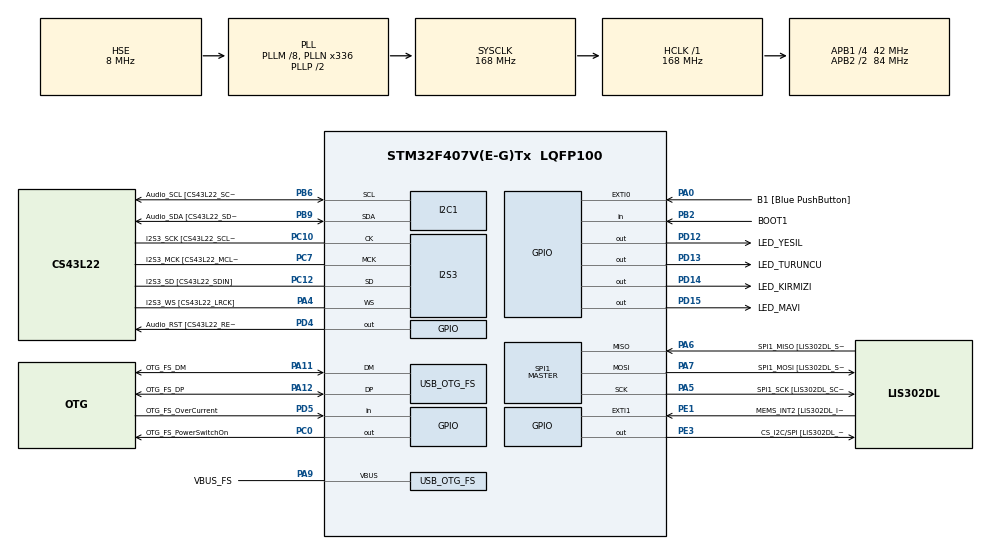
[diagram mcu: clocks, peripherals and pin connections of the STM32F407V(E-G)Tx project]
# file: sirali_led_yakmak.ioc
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I2S3.AudioFreq-Half_Duplex_Master=I2S_AUDIOFREQ_96K
I2S3.ErrorAudioFreq=-2.34 %
I2S3.ErrorAudioFreq-Half_Duplex_Master=0.8 %
I2S3.FullDuplexMode=I2S_FULLDUPLEXMODE_DISABLE
I2S3.Instance=SPI$Index
I2S3.RealAudioFreq=93.75 KHz
I2S3.RealAudioFreq-Half_Duplex_Master=96.774 KHz
I2S3.VirtualMode=I2S_MODE_MASTER
Mcu.Family=STM32F4
Mcu.Name=STM32F407V(E-G)Tx
Mcu.Package=LQFP100
NVIC.OTG_FS_IRQn=true\:0\:0\:false\:false\:true\:true\:true\:true
NVIC.PriorityGroup=NVIC_PRIORITYGROUP_0
PA0-WKUP.GPIO_Label=B1 [Blue PushButton]
PA0-WKUP.GPIO_ModeDefaultEXTI=GPIO_MODE_EVT_RISING
PA0-WKUP.GPIO_PuPd=GPIO_NOPULL
PA0-WKUP.Signal=GPXTI0
PA10.GPIO_Label=OTG_FS_ID
PA10.GPIO_Mode=GPIO_MODE_AF_PP
PA10.GPIO_PuPd=GPIO_NOPULL
PA10.GPIO_Speed=GPIO_SPEED_FREQ_LOW
PA10.Signal=USB_OTG_FS_ID
PA11.GPIO_Label=OTG_FS_DM
PA11.GPIO_Mode=GPIO_MODE_AF_PP
PA11.GPIO_PuPd=GPIO_NOPULL
PA11.GPIO_Speed=GPIO_SPEED_FREQ_LOW
PA11.Mode=Host_Only
PA11.Signal=USB_OTG_FS_DM
PA12.GPIO_Label=OTG_FS_DP
PA12.GPIO_Mode=GPIO_MODE_AF_PP
PA12.GPIO_PuPd=GPIO_NOPULL
PA12.GPIO_Speed=GPIO_SPEED_FREQ_LOW
PA12.Mode=Host_Only
PA12.Signal=USB_OTG_FS_DP
PA13.GPIO_Label=SWDIO
PA13.Mode=Serial_Wire
PA13.Signal=SYS_JTMS-SWDIO
PA14.GPIO_Label=SWCLK
PA14.Mode=Serial_Wire
PA14.Signal=SYS_JTCK-SWCLK
PA4.GPIO_Label=I2S3_WS [CS43L22_LRCK]
PA4.GPIO_Mode=GPIO_MODE_AF_PP
PA4.GPIO_PuPd=GPIO_NOPULL
PA4.GPIO_Speed=GPIO_SPEED_FREQ_LOW
PA4.Mode=Half_Duplex_Master
PA4.Signal=I2S3_WS
PA5.GPIO_Label=SPI1_SCK [LIS302DL_SCL/SPC]
PA5.GPIO_Mode=GPIO_MODE_AF_PP
PA5.GPIO_PuPd=GPIO_NOPULL
PA5.GPIO_Speed=GPIO_SPEED_FREQ_LOW
PA5.Mode=Full_Duplex_Master
PA5.Signal=SPI1_SCK
PA6.GPIO_Label=SPI1_MISO [LIS302DL_SDO]
PA6.GPIO_Mode=GPIO_MODE_AF_PP
PA6.GPIO_PuPd=GPIO_NOPULL
PA6.GPIO_Speed=GPIO_SPEED_FREQ_LOW
PA6.Mode=Full_Duplex_Master
PA6.Signal=SPI1_MISO
PA7.GPIO_Label=SPI1_MOSI [LIS302DL_SDA/SDI/SDO]
PA7.GPIO_Mode=GPIO_MODE_AF_PP
PA7.GPIO_PuPd=GPIO_NOPULL
PA7.GPIO_Speed=GPIO_SPEED_FREQ_LOW
PA7.Mode=Full_Duplex_Master
PA7.Signal=SPI1_MOSI
PA9.GPIO_Label=VBUS_FS
PA9.GPIO_Mode=GPIO_MODE_INPUT
PA9.GPIO_PuPd=GPIO_NOPULL
PA9.Mode=Activate_VBUS
PA9.Signal=USB_OTG_FS_VBUS
PB10.GPIO_Label=CLK_IN [MP45DT02_CLK]
PB10.GPIO_Mode=GPIO_MODE_AF_PP
PB10.GPIO_PuPd=GPIO_NOPULL
PB10.GPIO_Speed=GPIO_SPEED_FREQ_LOW
PB10.Signal=I2S2_CK
PB2.GPIO_Label=BOOT1
PB2.GPIO_Mode=GPIO_MODE_INPUT
PB2.GPIO_PuPd=GPIO_NOPULL
PB2.Signal=GPIO_Input
PB3.GPIO_Label=SWO
PB3.Signal=SYS_JTDO-SWO
PB6.GPIO_Label=Audio_SCL [CS43L22_SCL]
PB6.GPIO_Mode=GPIO_MODE_AF_OD
PB6.GPIO_Pu=GPIO_PULLUP
PB6.GPIO_PuPd=GPIO_NOPULL
PB6.GPIO_Speed=GPIO_SPEED_FREQ_LOW
PB6.Mode=I2C
PB6.Signal=I2C1_SCL
PB9.GPIO_Label=Audio_SDA [CS43L22_SDA]
PB9.GPIO_Mode=GPIO_MODE_AF_OD
PB9.GPIO_Pu=GPIO_PULLUP
PB9.GPIO_PuPd=GPIO_NOPULL
PB9.GPIO_Speed=GPIO_SPEED_FREQ_LOW
PB9.Mode=I2C
PB9.Signal=I2C1_SDA
PC0.GPIO_Label=OTG_FS_PowerSwitchOn
PC0.GPIO_PuPd=GPIO_NOPULL
PC0.GPIO_Speed=GPIO_SPEED_FREQ_LOW
PC0.PinState=GPIO_PIN_SET
PC0.Signal=GPIO_Output
PC10.GPIO_Label=I2S3_SCK [CS43L22_SCLK]
PC10.GPIO_Mode=GPIO_MODE_AF_PP
PC10.GPIO_PuPd=GPIO_NOPULL
PC10.GPIO_Speed=GPIO_SPEED_FREQ_LOW
PC10.Mode=Half_Duplex_Master
PC10.Signal=I2S3_CK
PC12.GPIO_Label=I2S3_SD [CS43L22_SDIN]
PC12.GPIO_Mode=GPIO_MODE_AF_PP
PC12.GPIO_PuPd=GPIO_NOPULL
PC12.GPIO_Speed=GPIO_SPEED_FREQ_LOW
PC12.Mode=Half_Duplex_Master
PC12.Signal=I2S3_SD
PC14-OSC32_IN.GPIO_Label=PC14-OSC32_IN
PC14-OSC32_IN.Mode=LSE-External-Oscillator
PC14-OSC32_IN.Signal=RCC_OSC32_IN
PC15-OSC32_OUT.GPIO_Label=PC15-OSC32_OUT
PC15-OSC32_OUT.Mode=LSE-External-Oscillator
PC15-OSC32_OUT.Signal=RCC_OSC32_OUT
PC3.GPIO_Label=PDM_OUT [MP45DT02_DOUT]
PC3.GPIO_Mode=GPIO_MODE_AF_PP
PC3.GPIO_PuPd=GPIO_NOPULL
PC3.GPIO_Speed=GPIO_SPEED_FREQ_LOW
PC3.Signal=I2S2_SD
PC7.GPIO_Label=I2S3_MCK [CS43L22_MCLK]
PC7.GPIO_Mode=GPIO_MODE_AF_PP
PC7.GPIO_PuPd=GPIO_NOPULL
PC7.GPIO_Speed=GPIO_SPEED_FREQ_LOW
PC7.Mode=Master_Clock_Activated
PC7.Signal=I2S3_MCK
PD12.GPIO_Label=LED_YESIL
PD12.GPIO_PuPd=GPIO_NOPULL
PD12.GPIO_Speed=GPIO_SPEED_FREQ_LOW
PD12.Signal=GPIO_Output
PD13.GPIO_Label=LED_TURUNCU
PD13.GPIO_PuPd=GPIO_NOPULL
PD13.GPIO_Speed=GPIO_SPEED_FREQ_LOW
PD13.Signal=GPIO_Output
PD14.GPIO_Label=LED_KIRMIZI
PD14.GPIO_PuPd=GPIO_NOPULL
PD14.GPIO_Speed=GPIO_SPEED_FREQ_LOW
PD14.Signal=GPIO_Output
PD15.GPIO_Label=LED_MAVI
PD15.GPIO_PuPd=GPIO_NOPULL
PD15.GPIO_Speed=GPIO_SPEED_FREQ_LOW
PD15.Signal=GPIO_Output
PD4.GPIO_Label=Audio_RST [CS43L22_RESET]
PD4.GPIO_PuPd=GPIO_NOPULL
PD4.GPIO_Speed=GPIO_SPEED_FREQ_LOW
PD4.Signal=GPIO_Output
PD5.GPIO_Label=OTG_FS_OverCurrent
PD5.GPIO_Mode=GPIO_MODE_INPUT
PD5.GPIO_PuPd=GPIO_NOPULL
PD5.Signal=GPIO_Input
PE1.GPIO_Label=MEMS_INT2 [LIS302DL_INT2]
PE1.GPIO_ModeDefaultEXTI=GPIO_MODE_EVT_RISING
PE1.GPIO_PuPd=GPIO_NOPULL
PE1.Signal=GPXTI1
PE3.GPIO_Label=CS_I2C/SPI [LIS302DL_CS_I2C/SPI]
PE3.GPIO_PuPd=GPIO_NOPULL
PE3.GPIO_Speed=GPIO_SPEED_FREQ_LOW
PE3.Signal=GPIO_Output
PH0-OSC_IN.GPIO_Label=PH0-OSC_IN
PH0-OSC_IN.Mode=HSE-External-Oscillator
PH0-OSC_IN.Signal=RCC_OSC_IN
PH1-OSC_OUT.GPIO_Label=PH1-OSC_OUT
PH1-OSC_OUT.Mode=HSE-External-Oscillator
PH1-OSC_OUT.Signal=RCC_OSC_OUT
ProjectManager.HeapSize=0x200
ProjectManager.StackSize=0x400
ProjectManager.TargetToolchain=STM32CubeIDE
RCC.48MHZClocksFreq_Value=48000000
RCC.AHBFreq_Value=168000000
RCC.APB1CLKDivider=RCC_HCLK_DIV4
RCC.APB1Freq_Value=42000000
RCC.APB1TimFreq_Value=84000000
RCC.APB2CLKDivider=RCC_HCLK_DIV2
RCC.APB2Freq_Value=84000000
RCC.APB2TimFreq_Value=168000000
RCC.CortexFreq_Value=168000000
RCC.HCLKFreq_Value=168000000
RCC.HSE_VALUE=8000000
RCC.HSI_VALUE=16000000
RCC.PLLM=8
RCC.PLLN=336
RCC.PLLQ=7
RCC.SYSCLKFreq_VALUE=168000000
RCC.SYSCLKSource=RCC_SYSCLKSOURCE_PLLCLK
RCC.VCOOutputFreq_Value=336000000
SPI1.BaudRatePrescaler-Full_Duplex_Master=SPI_BAUDRATEPRESCALER_2
SPI1.CalculateBaudRate-Full_Duplex_Master=42.0 MBits/s
SPI1.Direction=SPI_DIRECTION_2LINES
SPI1.Mode=SPI_MODE_MASTER
SPI1.Mode-Full_Duplex_Master=SPI_MODE_MASTER
SPI1.VirtualType=VM_MASTER
USB_HOST.BSP.number=1
USB_HOST.USBH_HandleTypeDef-CDC_FS=hUsbHostFS
USB_HOST.VirtualModeFS=Cdc
USB_HOST0.BSP.STBoard=false
USB_HOST0.BSP.api=Unknown
USB_HOST0.BSP.instance=PC0
USB_HOST0.BSP.ip=GPIO
USB_HOST0.BSP.mode=Output
USB_HOST0.BSP.name=Drive_VBUS_FS
USB_HOST0.BSP.solution=PC0
USB_OTG_FS.VirtualMode=Host_Only
USB_OTG_FS.phy_itface=HCD_PHY_EMBEDDED
VP_USB_HOST_VS_USB_HOST_CDC_FS.Mode=CDC_FS
board=STM32F407G-DISC1

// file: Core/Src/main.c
/* USER CODE BEGIN Header */
/**
  ******************************************************************************
  * @file           : main.c
  * @brief          : Main program body
  ******************************************************************************
  * @attention
  *
  * Copyright (c) 2026 STMicroelectronics.
  * All rights reserved.
  *
  * This software is licensed under terms that can be found in the LICENSE file
  * in the root directory of this software component.
  * If no LICENSE file comes with this software, it is provided AS-IS.
  *
  ******************************************************************************
  */
/* USER CODE END Header */
#include "main.h"
#include "usb_host.h"

I2C_HandleTypeDef hi2c1;

I2S_HandleTypeDef hi2s3;

SPI_HandleTypeDef hspi1;

void SystemClock_Config(void);
static void MX_GPIO_Init(void);
static void MX_I2C1_Init(void);
static void MX_I2S3_Init(void);
static void MX_SPI1_Init(void);
void MX_USB_HOST_Process(void);

int main(void)
{

  /* MCU Configuration--------------------------------------------------------*/

  /* Reset of all peripherals, Initializes the Flash interface and the Systick. */
  HAL_Init();

  /* Configure the system clock */
  SystemClock_Config();

  /* Initialize all configured peripherals */
  MX_GPIO_Init();
  MX_I2C1_Init();
  MX_I2S3_Init();
  MX_SPI1_Init();
  MX_USB_HOST_Init();

  /* Infinite loop */
  while (1)
  {
    MX_USB_HOST_Process();

    /* USER CODE BEGIN 3 */
    HAL_GPIO_WritePin(LED_YESIL_GPIO_Port,LED_YESIL_Pin,GPIO_PIN_SET);
    HAL_Delay(200);
    HAL_GPIO_WritePin(LED_TURUNCU_GPIO_Port,LED_TURUNCU_Pin,GPIO_PIN_SET);
    HAL_Delay(200);
    HAL_GPIO_WritePin(LED_KIRMIZI_GPIO_Port,LED_KIRMIZI_Pin,GPIO_PIN_SET);
    HAL_Delay(200);
    HAL_GPIO_WritePin(GPIOD,GPIO_PIN_15,GPIO_PIN_SET);
    HAL_Delay(500);
    HAL_GPIO_WritePin(LED_MAVI_GPIO_Port,LED_MAVI_Pin,GPIO_PIN_RESET);
    HAL_Delay(200);
    HAL_GPIO_WritePin(LED_KIRMIZI_GPIO_Port,LED_KIRMIZI_Pin,GPIO_PIN_RESET);
    HAL_Delay(200);
    HAL_GPIO_WritePin(LED_TURUNCU_GPIO_Port,LED_TURUNCU_Pin,GPIO_PIN_RESET);
    HAL_Delay(200);
    HAL_GPIO_WritePin(LED_YESIL_GPIO_Port,LED_YESIL_Pin,GPIO_PIN_RESET);
    HAL_Delay(500);
    for(uint8_t i = 0 ; i <= 3; i++){
    	HAL_GPIO_WritePin(GPIOD,GPIO_PIN_12|GPIO_PIN_13|GPIO_PIN_14|GPIO_PIN_15,GPIO_PIN_SET);
    	HAL_Delay(100);
    	HAL_GPIO_WritePin(GPIOD,GPIO_PIN_12|GPIO_PIN_13|GPIO_PIN_14|GPIO_PIN_15,GPIO_PIN_RESET);
    	HAL_Delay(100);
    }

  }
  /* USER CODE END 3 */
}

void SystemClock_Config(void)
{
  RCC_OscInitTypeDef RCC_OscInitStruct = {0};
  RCC_ClkInitTypeDef RCC_ClkInitStruct = {0};

  /** Configure the main internal regulator output voltage
  */
  __HAL_RCC_PWR_CLK_ENABLE();
  __HAL_PWR_VOLTAGESCALING_CONFIG(PWR_REGULATOR_VOLTAGE_SCALE1);

  /** Initializes the RCC Oscillators according to the specified parameters
  * in the RCC_OscInitTypeDef structure.
  */
  RCC_OscInitStruct.OscillatorType = RCC_OSCILLATORTYPE_HSE;
  RCC_OscInitStruct.HSEState = RCC_HSE_ON;
  RCC_OscInitStruct.PLL.PLLState = RCC_PLL_ON;
  RCC_OscInitStruct.PLL.PLLSource = RCC_PLLSOURCE_HSE;
  RCC_OscInitStruct.PLL.PLLM = 8;
  RCC_OscInitStruct.PLL.PLLN = 336;
  RCC_OscInitStruct.PLL.PLLP = RCC_PLLP_DIV2;
  RCC_OscInitStruct.PLL.PLLQ = 7;
  if (HAL_RCC_OscConfig(&RCC_OscInitStruct) != HAL_OK)
  {
    Error_Handler();
  }

  /** Initializes the CPU, AHB and APB buses clocks
  */
  RCC_ClkInitStruct.ClockType = RCC_CLOCKTYPE_HCLK|RCC_CLOCKTYPE_SYSCLK
                              |RCC_CLOCKTYPE_PCLK1|RCC_CLOCKTYPE_PCLK2;
  RCC_ClkInitStruct.SYSCLKSource = RCC_SYSCLKSOURCE_PLLCLK;
  RCC_ClkInitStruct.AHBCLKDivider = RCC_SYSCLK_DIV1;
  RCC_ClkInitStruct.APB1CLKDivider = RCC_HCLK_DIV4;
  RCC_ClkInitStruct.APB2CLKDivider = RCC_HCLK_DIV2;

  if (HAL_RCC_ClockConfig(&RCC_ClkInitStruct, FLASH_LATENCY_5) != HAL_OK)
  {
    Error_Handler();
  }
}

static void MX_I2C1_Init(void)
{

  hi2c1.Instance = I2C1;
  hi2c1.Init.ClockSpeed = 100000;
  hi2c1.Init.DutyCycle = I2C_DUTYCYCLE_2;
  hi2c1.Init.OwnAddress1 = 0;
  hi2c1.Init.AddressingMode = I2C_ADDRESSINGMODE_7BIT;
  hi2c1.Init.DualAddressMode = I2C_DUALADDRESS_DISABLE;
  hi2c1.Init.OwnAddress2 = 0;
  hi2c1.Init.GeneralCallMode = I2C_GENERALCALL_DISABLE;
  hi2c1.Init.NoStretchMode = I2C_NOSTRETCH_DISABLE;
  if (HAL_I2C_Init(&hi2c1) != HAL_OK)
  {
    Error_Handler();
  }

}

static void MX_I2S3_Init(void)
{

  hi2s3.Instance = SPI3;
  hi2s3.Init.Mode = I2S_MODE_MASTER_TX;
  hi2s3.Init.Standard = I2S_STANDARD_PHILIPS;
  hi2s3.Init.DataFormat = I2S_DATAFORMAT_16B;
  hi2s3.Init.MCLKOutput = I2S_MCLKOUTPUT_ENABLE;
  hi2s3.Init.AudioFreq = I2S_AUDIOFREQ_96K;
  hi2s3.Init.CPOL = I2S_CPOL_LOW;
  hi2s3.Init.ClockSource = I2S_CLOCK_PLL;
  hi2s3.Init.FullDuplexMode = I2S_FULLDUPLEXMODE_DISABLE;
  if (HAL_I2S_Init(&hi2s3) != HAL_OK)
  {
    Error_Handler();
  }

}

static void MX_SPI1_Init(void)
{

  /* SPI1 parameter configuration*/
  hspi1.Instance = SPI1;
  hspi1.Init.Mode = SPI_MODE_MASTER;
  hspi1.Init.Direction = SPI_DIRECTION_2LINES;
  hspi1.Init.DataSize = SPI_DATASIZE_8BIT;
  hspi1.Init.CLKPolarity = SPI_POLARITY_LOW;
  hspi1.Init.CLKPhase = SPI_PHASE_1EDGE;
  hspi1.Init.NSS = SPI_NSS_SOFT;
  hspi1.Init.BaudRatePrescaler = SPI_BAUDRATEPRESCALER_2;
  hspi1.Init.FirstBit = SPI_FIRSTBIT_MSB;
  hspi1.Init.TIMode = SPI_TIMODE_DISABLE;
  hspi1.Init.CRCCalculation = SPI_CRCCALCULATION_DISABLE;
  hspi1.Init.CRCPolynomial = 10;
  if (HAL_SPI_Init(&hspi1) != HAL_OK)
  {
    Error_Handler();
  }

}

static void MX_GPIO_Init(void)
{
  GPIO_InitTypeDef GPIO_InitStruct = {0};

  /* GPIO Ports Clock Enable */
  __HAL_RCC_GPIOE_CLK_ENABLE();
  __HAL_RCC_GPIOC_CLK_ENABLE();
  __HAL_RCC_GPIOH_CLK_ENABLE();
  __HAL_RCC_GPIOA_CLK_ENABLE();
  __HAL_RCC_GPIOB_CLK_ENABLE();
  __HAL_RCC_GPIOD_CLK_ENABLE();

  /*Configure GPIO pin Output Level */
  HAL_GPIO_WritePin(CS_I2C_SPI_GPIO_Port, CS_I2C_SPI_Pin, GPIO_PIN_RESET);

  /*Configure GPIO pin Output Level */
  HAL_GPIO_WritePin(OTG_FS_PowerSwitchOn_GPIO_Port, OTG_FS_PowerSwitchOn_Pin, GPIO_PIN_SET);

  /*Configure GPIO pin Output Level */
  HAL_GPIO_WritePin(GPIOD, LED_YESIL_Pin|LED_TURUNCU_Pin|LED_KIRMIZI_Pin|LED_MAVI_Pin
                          |Audio_RST_Pin, GPIO_PIN_RESET);

  /*Configure GPIO pin : CS_I2C_SPI_Pin */
  GPIO_InitStruct.Pin = CS_I2C_SPI_Pin;
  GPIO_InitStruct.Mode = GPIO_MODE_OUTPUT_PP;
  GPIO_InitStruct.Pull = GPIO_NOPULL;
  GPIO_InitStruct.Speed = GPIO_SPEED_FREQ_LOW;
  HAL_GPIO_Init(CS_I2C_SPI_GPIO_Port, &GPIO_InitStruct);

  /*Configure GPIO pin : OTG_FS_PowerSwitchOn_Pin */
  GPIO_InitStruct.Pin = OTG_FS_PowerSwitchOn_Pin;
  GPIO_InitStruct.Mode = GPIO_MODE_OUTPUT_PP;
  GPIO_InitStruct.Pull = GPIO_NOPULL;
  GPIO_InitStruct.Speed = GPIO_SPEED_FREQ_LOW;
  HAL_GPIO_Init(OTG_FS_PowerSwitchOn_GPIO_Port, &GPIO_InitStruct);

  /*Configure GPIO pin : PDM_OUT_Pin */
  GPIO_InitStruct.Pin = PDM_OUT_Pin;
  GPIO_InitStruct.Mode = GPIO_MODE_AF_PP;
  GPIO_InitStruct.Pull = GPIO_NOPULL;
  GPIO_InitStruct.Speed = GPIO_SPEED_FREQ_LOW;
  GPIO_InitStruct.Alternate = GPIO_AF5_SPI2;
  HAL_GPIO_Init(PDM_OUT_GPIO_Port, &GPIO_InitStruct);

  /*Configure GPIO pin : B1_Pin */
  GPIO_InitStruct.Pin = B1_Pin;
  GPIO_InitStruct.Mode = GPIO_MODE_EVT_RISING;
  GPIO_InitStruct.Pull = GPIO_NOPULL;
  HAL_GPIO_Init(B1_GPIO_Port, &GPIO_InitStruct);

  /*Configure GPIO pin : BOOT1_Pin */
  GPIO_InitStruct.Pin = BOOT1_Pin;
  GPIO_InitStruct.Mode = GPIO_MODE_INPUT;
  GPIO_InitStruct.Pull = GPIO_NOPULL;
  HAL_GPIO_Init(BOOT1_GPIO_Port, &GPIO_InitStruct);

  /*Configure GPIO pin : CLK_IN_Pin */
  GPIO_InitStruct.Pin = CLK_IN_Pin;
  GPIO_InitStruct.Mode = GPIO_MODE_AF_PP;
  GPIO_InitStruct.Pull = GPIO_NOPULL;
  GPIO_InitStruct.Speed = GPIO_SPEED_FREQ_LOW;
  GPIO_InitStruct.Alternate = GPIO_AF5_SPI2;
  HAL_GPIO_Init(CLK_IN_GPIO_Port, &GPIO_InitStruct);

  /*Configure GPIO pins : LED_YESIL_Pin LED_TURUNCU_Pin LED_KIRMIZI_Pin LED_MAVI_Pin
                           Audio_RST_Pin */
  GPIO_InitStruct.Pin = LED_YESIL_Pin|LED_TURUNCU_Pin|LED_KIRMIZI_Pin|LED_MAVI_Pin
                          |Audio_RST_Pin;
  GPIO_InitStruct.Mode = GPIO_MODE_OUTPUT_PP;
  GPIO_InitStruct.Pull = GPIO_NOPULL;
  GPIO_InitStruct.Speed = GPIO_SPEED_FREQ_LOW;
  HAL_GPIO_Init(GPIOD, &GPIO_InitStruct);

  /*Configure GPIO pin : OTG_FS_OverCurrent_Pin */
  GPIO_InitStruct.Pin = OTG_FS_OverCurrent_Pin;
  GPIO_InitStruct.Mode = GPIO_MODE_INPUT;
  GPIO_InitStruct.Pull = GPIO_NOPULL;
  HAL_GPIO_Init(OTG_FS_OverCurrent_GPIO_Port, &GPIO_InitStruct);

  /*Configure GPIO pin : MEMS_INT2_Pin */
  GPIO_InitStruct.Pin = MEMS_INT2_Pin;
  GPIO_InitStruct.Mode = GPIO_MODE_EVT_RISING;
  GPIO_InitStruct.Pull = GPIO_NOPULL;
  HAL_GPIO_Init(MEMS_INT2_GPIO_Port, &GPIO_InitStruct);

}

void Error_Handler(void)
{
  __disable_irq();
  while (1)
  {
  }
}
